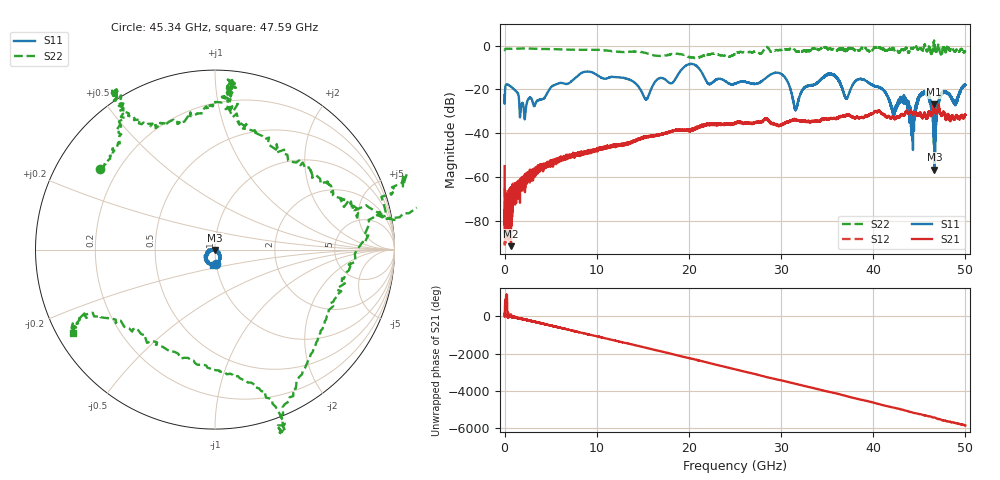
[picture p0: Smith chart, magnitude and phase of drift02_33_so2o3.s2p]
!Created with skrf (http://scikit-rf.org).
# Hz S RI R 50.0
!freq ReS11 ImS11 ReS21 ImS21 ReS12 ImS12 ReS22 ImS22
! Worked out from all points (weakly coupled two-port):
!   10001 points, 300 kHz to 50 GHz, reference 50 ohm
!   highest |S21| = -26.82 dB at 46.6 GHz (marker M1); lowest = -91.3 dB at 690.3 MHz (marker M2)
!   lowest |S11| = -56.4 dB at 46.65 GHz (marker M3), VSWR 1.00, Z = 50 - j0.15 ohm
!   |S11| at or under -10 dB: start of sweep to 19.42 GHz; 21 GHz to end of sweep
!   |S22| runs from -5.7 to 2.3 dB; largest |S21 - S12| = 0.0032
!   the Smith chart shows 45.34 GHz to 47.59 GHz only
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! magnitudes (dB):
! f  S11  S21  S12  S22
! 300 kHz  -22.6  -54.9  -65.0  -2.0
! 255.3 MHz  -17.6  -72.4  -73.8  -1.4
! 690.3 MHz  -18.7  -91.3  -66.4  -1.5
! 2.185 GHz  -33.5  -60.3  -62.1  -1.3
! 8.335 GHz  -12.5  -49.0  -49.6  -1.9
! 15.34 GHz  -24.5  -41.5  -41.6  -3.3
! 16.67 GHz  -15.1  -40.8  -40.6  -4.7
! 20.29 GHz  -8.4  -38.3  -38.3  -5.5
! 25 GHz  -17.4  -35.0  -35.5  -3.9
! 29.85 GHz  -12.6  -36.5  -36.4  -2.0
! 31.59 GHz  -28.9  -33.7  -34.0  -2.4
! 33.34 GHz  -17.9  -34.3  -34.4  -1.5
! 35.6 GHz  -13.2  -33.2  -33.1  -1.6
! 37.1 GHz  -24.1  -31.8  -31.7  -2.1
! 38.75 GHz  -15.3  -32.7  -32.7  -1.0
! 41.67 GHz  -24.2  -32.2  -32.2  -1.9
! 44.27 GHz  -33.8  -31.2  -31.3  -1.4
! 45.7 GHz  -21.7  -32.2  -32.5  -0.7
! 46.6 GHz  -41.7  -26.8  -26.7  2.0
! 46.65 GHz  -56.4  -28.2  -27.7  1.2
! 47.46 GHz  -21.7  -31.7  -31.8  -3.6
! 50 GHz  -17.9  -31.6  -31.4  -2.7
